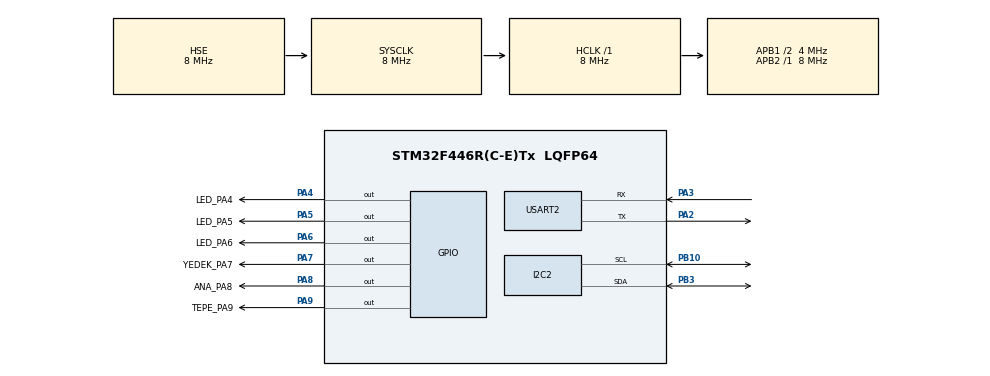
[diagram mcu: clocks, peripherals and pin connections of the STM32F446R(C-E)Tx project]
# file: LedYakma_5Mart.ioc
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Mcu.Family=STM32F4
Mcu.Name=STM32F446R(C-E)Tx
Mcu.Package=LQFP64
NVIC.I2C2_ER_IRQn=true\:0\:0\:false\:false\:true\:true\:true\:true
NVIC.I2C2_EV_IRQn=true\:0\:0\:false\:false\:true\:true\:true\:true
NVIC.PriorityGroup=NVIC_PRIORITYGROUP_4
PA13.Mode=Serial_Wire
PA13.Signal=SYS_JTMS-SWDIO
PA14.Mode=Serial_Wire
PA14.Signal=SYS_JTCK-SWCLK
PA2.Mode=Asynchronous
PA2.Signal=USART2_TX
PA3.Mode=Asynchronous
PA3.Signal=USART2_RX
PA4.GPIO_Label=LED_PA4
PA4.Signal=GPIO_Output
PA5.GPIO_Label=LED_PA5
PA5.Signal=GPIO_Output
PA6.GPIO_Label=LED_PA6
PA6.Signal=GPIO_Output
PA7.GPIO_Label=YEDEK_PA7
PA7.Signal=GPIO_Output
PA8.GPIO_Label=ANA_PA8
PA8.Signal=GPIO_Output
PA9.GPIO_Label=TEPE_PA9
PA9.Signal=GPIO_Output
PB10.Mode=I2C
PB10.Signal=I2C2_SCL
PB3.Mode=I2C
PB3.Signal=I2C2_SDA
PH0-OSC_IN.Mode=HSE-External-Oscillator
PH0-OSC_IN.Signal=RCC_OSC_IN
PH1-OSC_OUT.Mode=HSE-External-Oscillator
PH1-OSC_OUT.Signal=RCC_OSC_OUT
ProjectManager.HeapSize=0x200
ProjectManager.StackSize=0x400
ProjectManager.TargetToolchain=STM32CubeIDE
RCC.AHBFreq_Value=8000000
RCC.APB1CLKDivider=RCC_HCLK_DIV2
RCC.APB1Freq_Value=4000000
RCC.APB1TimFreq_Value=8000000
RCC.APB2Freq_Value=8000000
RCC.APB2TimFreq_Value=8000000
RCC.CortexFreq_Value=8000000
RCC.HCLKFreq_Value=8000000
RCC.HSE_VALUE=8000000
RCC.PLLM=8
RCC.PLLN=56
RCC.PLLSourceVirtual=RCC_PLLSOURCE_HSE
RCC.SYSCLKFreq_VALUE=8000000
RCC.SYSCLKSource=RCC_SYSCLKSOURCE_HSE
RCC.USBFreq_Value=28000000
RCC.VCOOutputFreq_Value=56000000
USART2.VirtualMode=VM_ASYNC
board=custom

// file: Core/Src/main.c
/* USER CODE BEGIN Header */
/**
  ******************************************************************************
  * @file           : main.c
  * @brief          : Main program body
  ******************************************************************************
  * @attention
  *
  * Copyright (c) 2026 STMicroelectronics.
  * All rights reserved.
  *
  * This software is licensed under terms that can be found in the LICENSE file
  * in the root directory of this software component.
  * If no LICENSE file comes with this software, it is provided AS-IS.
  *
  ******************************************************************************
  */
/* USER CODE END Header */
#include "main.h"

/* USER CODE BEGIN Includes */
#include "bmp180_for_stm32_hal.h"
#include "functions.h"
/* USER CODE END Includes */

I2C_HandleTypeDef hi2c2;

UART_HandleTypeDef huart2;

void SystemClock_Config(void);
static void MX_GPIO_Init(void);
static void MX_USART2_UART_Init(void);
static void MX_I2C2_Init(void);

int main(void)
{

  /* MCU Configuration--------------------------------------------------------*/

  /* Reset of all peripherals, Initializes the Flash interface and the Systick. */
  HAL_Init();

  /* Configure the system clock */
  SystemClock_Config();

  /* Initialize all configured peripherals */
  MX_GPIO_Init();
  MX_USART2_UART_Init();
  MX_I2C2_Init();
  /* USER CODE BEGIN 2 */
  BMP180_Init(&hi2c2);
  BMP180_SetOversampling(BMP180_STANDARD);
  BMP180_UpdateCalibrationData();

    float toplamBasinc = 0;

    // Sistemi 20 defa okuyup ortalamasını alarak rüzgar/gürültü hatasını sıfırlıyoruz.
    for(int i = 0; i < 20; i++) {
        toplamBasinc += BMP180_GetPressure();
        HAL_Delay(50); // Sensörün veriyi toparlaması için ufak bir bekleme
    }

    // Ortalamayı alıp yer basıncını mühürledik
    basincBaslangic = toplamBasinc / 20.0f;

    // Yerdeki referans irtifamızı hesaplıyoruz (DENIZ_BAS define'ını kullanıyoruz)
    irtifaBaslangic = 44330.0f * (1.0f - powf(basincBaslangic / DENIZ_BAS, 0.1903f));

  /* USER CODE END 2 */

  /* Infinite loop */
  /* USER CODE BEGIN WHILE */
  while (1)
  {
	  degerAtama(); // Her döngü başında tüm değerlerimizi yeniliyoruz.
	  uartOkuma();

	  switch (ucusDurumu){ // Kurtarma algoritması, fonksiyonlar ve switch-case yapısıyla oluşturuldu.
	  	  case FAZ_RAMPA: firlatma(); // Rampadan fırlatmayı tespit etme.
	  	  	  	  	  	  break;
	  	  case FAZ_FIRLATMA: tirmanma(); // Fırlatmadan burnoutu tespit etme.
	  	  	  	  	  	  	 break;
	  	  case FAZ_TIRMANIS: arama(); // Burnout sonrası tepe noktası kilidini açıp aramaya geçme.
	  	  	  	  	  	     break;
	  	  case FAZ_ARAYIS: drogueAcma(); // Drogue açmak için apogee tespiti.
	  		  	  	  	   break;
	  	  case FAZ_DUSUS: anaParasutAcma(); // Ana paraşüt açma tespiti.
	  	  	  	  	  	  break;
		  case FAZ_INIS:  inisKontrol(); // İniş kontrol algoritması ve yedek paraşüt.
		  	  	  	  	  break;
		  case FAZ_BITIS: ledYakma(); // İnişin tamamlanmasıyla beraber yapılacaklar.
		  	  	  	  	  break;
  }
 }
    /* USER CODE END WHILE */

}

void SystemClock_Config(void)
{
  RCC_OscInitTypeDef RCC_OscInitStruct = {0};
  RCC_ClkInitTypeDef RCC_ClkInitStruct = {0};

  /** Configure the main internal regulator output voltage
  */
  __HAL_RCC_PWR_CLK_ENABLE();
  __HAL_PWR_VOLTAGESCALING_CONFIG(PWR_REGULATOR_VOLTAGE_SCALE3);

  /** Initializes the RCC Oscillators according to the specified parameters
  * in the RCC_OscInitTypeDef structure.
  */
  RCC_OscInitStruct.OscillatorType = RCC_OSCILLATORTYPE_HSE;
  RCC_OscInitStruct.HSEState = RCC_HSE_ON;
  RCC_OscInitStruct.PLL.PLLState = RCC_PLL_NONE;
  if (HAL_RCC_OscConfig(&RCC_OscInitStruct) != HAL_OK)
  {
    Error_Handler();
  }

  /** Initializes the CPU, AHB and APB buses clocks
  */
  RCC_ClkInitStruct.ClockType = RCC_CLOCKTYPE_HCLK|RCC_CLOCKTYPE_SYSCLK
                              |RCC_CLOCKTYPE_PCLK1|RCC_CLOCKTYPE_PCLK2;
  RCC_ClkInitStruct.SYSCLKSource = RCC_SYSCLKSOURCE_HSE;
  RCC_ClkInitStruct.AHBCLKDivider = RCC_SYSCLK_DIV1;
  RCC_ClkInitStruct.APB1CLKDivider = RCC_HCLK_DIV2;
  RCC_ClkInitStruct.APB2CLKDivider = RCC_HCLK_DIV1;

  if (HAL_RCC_ClockConfig(&RCC_ClkInitStruct, FLASH_LATENCY_0) != HAL_OK)
  {
    Error_Handler();
  }
}

static void MX_I2C2_Init(void)
{

  hi2c2.Instance = I2C2;
  hi2c2.Init.ClockSpeed = 100000;
  hi2c2.Init.DutyCycle = I2C_DUTYCYCLE_2;
  hi2c2.Init.OwnAddress1 = 0;
  hi2c2.Init.AddressingMode = I2C_ADDRESSINGMODE_7BIT;
  hi2c2.Init.DualAddressMode = I2C_DUALADDRESS_DISABLE;
  hi2c2.Init.OwnAddress2 = 0;
  hi2c2.Init.GeneralCallMode = I2C_GENERALCALL_DISABLE;
  hi2c2.Init.NoStretchMode = I2C_NOSTRETCH_DISABLE;
  if (HAL_I2C_Init(&hi2c2) != HAL_OK)
  {
    Error_Handler();
  }

}

static void MX_USART2_UART_Init(void)
{

  huart2.Instance = USART2;
  huart2.Init.BaudRate = 115200;
  huart2.Init.WordLength = UART_WORDLENGTH_8B;
  huart2.Init.StopBits = UART_STOPBITS_1;
  huart2.Init.Parity = UART_PARITY_NONE;
  huart2.Init.Mode = UART_MODE_TX_RX;
  huart2.Init.HwFlowCtl = UART_HWCONTROL_NONE;
  huart2.Init.OverSampling = UART_OVERSAMPLING_16;
  if (HAL_UART_Init(&huart2) != HAL_OK)
  {
    Error_Handler();
  }

}

static void MX_GPIO_Init(void)
{
  GPIO_InitTypeDef GPIO_InitStruct = {0};

  /* GPIO Ports Clock Enable */
  __HAL_RCC_GPIOH_CLK_ENABLE();
  __HAL_RCC_GPIOA_CLK_ENABLE();
  __HAL_RCC_GPIOB_CLK_ENABLE();

  /*Configure GPIO pin Output Level */
  HAL_GPIO_WritePin(GPIOA, LED_PA4_Pin|LED_PA5_Pin|LED_PA6_Pin|YEDEK_PA7_Pin
                          |ANA_PA8_Pin|TEPE_PA9_Pin, GPIO_PIN_RESET);

  /*Configure GPIO pins : LED_PA4_Pin LED_PA5_Pin LED_PA6_Pin YEDEK_PA7_Pin
                           ANA_PA8_Pin TEPE_PA9_Pin */
  GPIO_InitStruct.Pin = LED_PA4_Pin|LED_PA5_Pin|LED_PA6_Pin|YEDEK_PA7_Pin
                          |ANA_PA8_Pin|TEPE_PA9_Pin;
  GPIO_InitStruct.Mode = GPIO_MODE_OUTPUT_PP;
  GPIO_InitStruct.Pull = GPIO_NOPULL;
  GPIO_InitStruct.Speed = GPIO_SPEED_FREQ_LOW;
  HAL_GPIO_Init(GPIOA, &GPIO_InitStruct);

}

void Error_Handler(void)
{
  __disable_irq();
  while (1)
  {
  }
}
